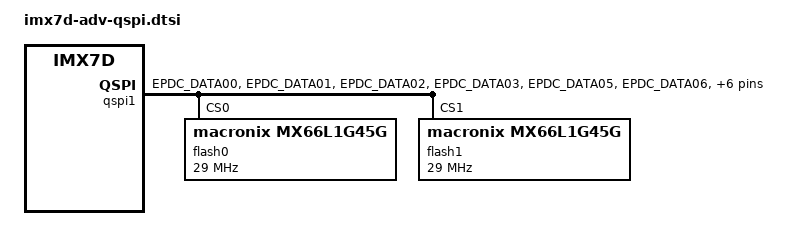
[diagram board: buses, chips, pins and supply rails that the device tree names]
/*
 * Copyright (C) 2015 Freescale Semiconductor, Inc.
 *
 * This program is free software; you can redistribute it and/or modify
 * it under the terms of the GNU General Public License version 2 as
 * published by the Free Software Foundation.
 */

/* disable epdc, conflict with qspi */
&epdc {
        status = "disabled";
};

&iomuxc {
	qspi1 {
		pinctrl_qspi1_1: qspi1grp_1 {
			fsl,pins = <
				MX7D_PAD_EPDC_DATA00__QSPI_A_DATA0 0x51
				MX7D_PAD_EPDC_DATA01__QSPI_A_DATA1 0x51
				MX7D_PAD_EPDC_DATA02__QSPI_A_DATA2 0x51
				MX7D_PAD_EPDC_DATA03__QSPI_A_DATA3 0x51
				MX7D_PAD_EPDC_DATA05__QSPI_A_SCLK 0x51
				MX7D_PAD_EPDC_DATA06__QSPI_A_SS0_B 0x51
				MX7D_PAD_EPDC_DATA08__QSPI_B_DATA0 0x51
				MX7D_PAD_EPDC_DATA09__QSPI_B_DATA1 0x51
				MX7D_PAD_EPDC_DATA10__QSPI_B_DATA2 0x51
				MX7D_PAD_EPDC_DATA11__QSPI_B_DATA3 0x51
				MX7D_PAD_EPDC_DATA13__QSPI_B_SCLK 0x51
				MX7D_PAD_EPDC_DATA14__QSPI_B_SS0_B 0x51
			>;
		};

/*
		pinctrl_qspi1_2: qspi1grp_2 {
			fsl,pins = <
				MX7D_PAD_EPDC_DATA08__QSPI_B_DATA0 0x51
				MX7D_PAD_EPDC_DATA09__QSPI_B_DATA1 0x51
				MX7D_PAD_EPDC_DATA10__QSPI_B_DATA2 0x51
				MX7D_PAD_EPDC_DATA11__QSPI_B_DATA3 0x51
				MX7D_PAD_EPDC_DATA13__QSPI_B_SCLK 0x51
				MX7D_PAD_EPDC_DATA14__QSPI_B_SS0_B 0x51
			>;
		};
*/
	};
};

&qspi1 {
	pinctrl-names = "default";
	pinctrl-0 = <&pinctrl_qspi1_1>;
	status = "okay";
	ddrsmp=<0>;

	flash0: mx66l1g45g@0 {
		#address-cells = <1>;
		#size-cells = <1>;
		compatible = "macronix,mx66l1g45g";
		spi-max-frequency = <29000000>;
		reg = <0>;
	};

	flash1: mx66l1g45g@1 {
		#address-cells = <1>;
		#size-cells = <1>;
		compatible = "macronix,mx66l1g45g";
		spi-max-frequency = <29000000>;
		reg = <1>;
	};
};
